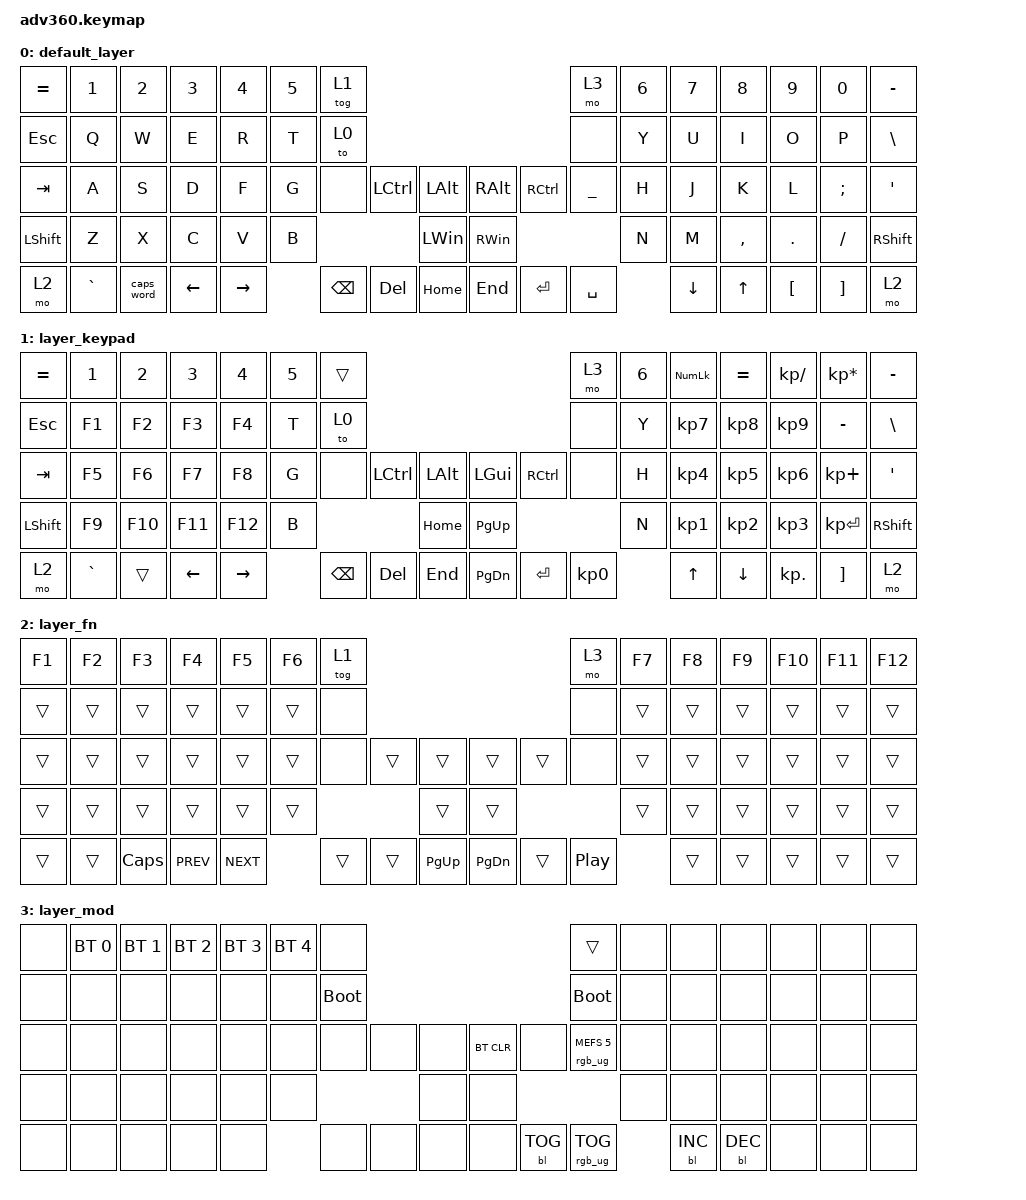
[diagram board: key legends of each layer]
/*
 * Copyright (c) 2020 The ZMK Contributors
 *
 * SPDX-License-Identifier: MIT
 */
/* THIS FILE WAS GENERATED!
 *
 * This file was generated automatically. You may or may not want to
 * edit it directly.
 */

#include <behaviors.dtsi>
#include <dt-bindings/zmk/backlight.h>
#include <dt-bindings/zmk/bt.h>
#include <dt-bindings/zmk/keys.h>
#include <dt-bindings/zmk/rgb.h>

/ {
    behaviors {
        #include "macros.dtsi"
      #include "version.dtsi"
      #ifndef VERSION_MACRO

        macro_ver: macro_ver {
            compatible = "zmk,behavior-macro";
            label = "macro_version";
            #binding-cells = <0>;
            bindings = <&kp RET>;
        };

        #endif

        hm: homerow_mods {
            compatible = "zmk,behavior-hold-tap";
            label = "HOMEROW_MODS";
            #binding-cells = <2>;
            tapping-term-ms = <200>;
            quick_tap_ms = <175>;
            flavor = "tap-preferred";
            bindings = <&kp>, <&kp>;
        };
    };

    macros {
    };

    keymap {
        compatible = "zmk,keymap";

        default_layer {
            bindings = <
&kp EQUAL   &kp N1     &kp N2      &kp N3    &kp N4     &kp N5  &tog 1                                                           &mo 3           &kp N6  &kp N7    &kp N8        &kp N9    &kp N0    &kp MINUS
&kp ESC     &kp Q      &kp W       &kp E     &kp R      &kp T   &to 0                                                            &none           &kp Y   &kp U     &kp I         &kp O     &kp P     &kp BSLH
&kp TAB     &kp A      &kp S       &kp D     &kp F      &kp G   &none     &kp LCTRL  &kp LALT          &kp RALT       &kp RCTRL  &kp UNDERSCORE  &kp H   &kp J     &kp K         &kp L     &kp SEMI  &kp SQT
&kp LSHIFT  &kp Z      &kp X       &kp C     &kp V      &kp B                        &kp LEFT_WIN      &kp RIGHT_WIN                             &kp N   &kp M     &kp COMMA     &kp DOT   &kp FSLH  &kp RSHFT
&mo 2       &kp GRAVE  &caps_word  &kp LEFT  &kp RIGHT          &kp BSPC  &kp DEL    &kp HOME          &kp END        &kp ENTER  &kp SPACE               &kp DOWN  &kp UP_ARROW  &kp LBKT  &kp RBKT  &mo 2
            >;
        };

        layer_keypad {
            bindings = <
&kp EQUAL  &kp N1     &kp N2   &kp N3    &kp N4     &kp N5  &trans                                                   &mo 3      &kp N6  &kp KP_NUM  &kp EQUAL  &kp KP_SLASH  &kp KP_MULTIPLY  &kp MINUS
&kp ESC    &kp F1     &kp F2   &kp F3    &kp F4     &kp T   &to 0                                                    &none      &kp Y   &kp KP_N7   &kp KP_N8  &kp KP_N9     &kp MINUS        &kp BSLH
&kp TAB    &kp F5     &kp F6   &kp F7    &kp F8     &kp G   &none     &kp LCTRL  &kp LALT      &kp LGUI   &kp RCTRL  &none      &kp H   &kp KP_N4   &kp KP_N5  &kp KP_N6     &kp KP_PLUS      &kp SQT
&kp LSHFT  &kp F9     &kp F10  &kp F11   &kp F12    &kp B                        &kp HOME      &kp PG_UP                        &kp N   &kp KP_N1   &kp KP_N2  &kp KP_N3     &kp KP_ENTER     &kp RSHFT
&mo 2      &kp GRAVE  &trans   &kp LEFT  &kp RIGHT          &kp BSPC  &kp DEL    &kp END       &kp PG_DN  &kp ENTER  &kp KP_N0          &kp UP      &kp DOWN   &kp KP_DOT    &kp RBKT         &mo 2
            >;
        };

        layer_fn {
            bindings = <
&kp F1  &kp F2  &kp F3        &kp F4      &kp F5      &kp F6  &tog 1                                                &mo 3             &kp F7  &kp F8  &kp F9  &kp F10  &kp F11  &kp F12
&trans  &trans  &trans        &trans      &trans      &trans  &none                                                 &none             &trans  &trans  &trans  &trans   &trans   &trans
&trans  &trans  &trans        &trans      &trans      &trans  &none   &trans  &trans         &trans         &trans  &none             &trans  &trans  &trans  &trans   &trans   &trans
&trans  &trans  &trans        &trans      &trans      &trans                  &trans         &trans                                   &trans  &trans  &trans  &trans   &trans   &trans
&trans  &trans  &kp CAPSLOCK  &kp C_PREV  &kp C_NEXT          &trans  &trans  &kp PG_UP      &kp PAGE_DOWN  &trans  &kp C_PLAY_PAUSE          &trans  &trans  &trans   &trans   &trans
            >;
        };

        layer_mod {
            bindings = <
&none  &bt BT_SEL 0  &bt BT_SEL 1  &bt BT_SEL 2  &bt BT_SEL 3  &bt BT_SEL 4  &none                                                  &trans                  &none  &none       &none       &none  &none  &none
&none  &none         &none         &none         &none         &none         &bootloader                                            &bootloader             &none  &none       &none       &none  &none  &none
&none  &none         &none         &none         &none         &none         &none        &none  &none      &bt BT_CLR  &none       &rgb_ug RGB_MEFS_CMD 5  &none  &none       &none       &none  &none  &none
&none  &none         &none         &none         &none         &none                             &none      &none                                           &none  &none       &none       &none  &none  &none
&none  &none         &none         &none         &none                       &none        &none  &none      &none       &bl BL_TOG  &rgb_ug RGB_TOG                &bl BL_INC  &bl BL_DEC  &none  &none  &none
            >;
        };
    };
};
